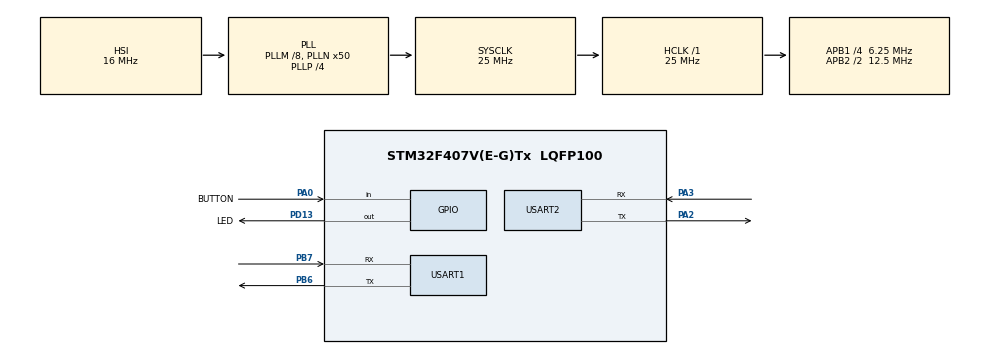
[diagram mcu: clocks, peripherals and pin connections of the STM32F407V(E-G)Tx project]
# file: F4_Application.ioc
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Mcu.Family=STM32F4
Mcu.Name=STM32F407V(E-G)Tx
Mcu.Package=LQFP100
NVIC.PriorityGroup=NVIC_PRIORITYGROUP_0
NVIC.USART1_IRQn=true\:0\:0\:false\:false\:true\:true\:true\:true
NVIC.USART2_IRQn=true\:0\:0\:false\:false\:true\:true\:true\:true
PA0-WKUP.GPIO_Label=BUTTON
PA0-WKUP.Signal=GPIO_Input
PA13.Mode=Serial_Wire
PA13.Signal=SYS_JTMS-SWDIO
PA14.Mode=Serial_Wire
PA14.Signal=SYS_JTCK-SWCLK
PA2.Mode=Asynchronous
PA2.Signal=USART2_TX
PA3.Mode=Asynchronous
PA3.Signal=USART2_RX
PB6.Mode=Asynchronous
PB6.Signal=USART1_TX
PB7.Mode=Asynchronous
PB7.Signal=USART1_RX
PD13.GPIO_Label=LED
PD13.Signal=GPIO_Output
ProjectManager.HeapSize=0x200
ProjectManager.StackSize=0x400
ProjectManager.TargetToolchain=STM32CubeIDE
RCC.48MHZClocksFreq_Value=14285714.285714285
RCC.AHBFreq_Value=25000000
RCC.APB1CLKDivider=RCC_HCLK_DIV4
RCC.APB1Freq_Value=6250000
RCC.APB1TimFreq_Value=12500000
RCC.APB2CLKDivider=RCC_HCLK_DIV2
RCC.APB2Freq_Value=12500000
RCC.APB2TimFreq_Value=25000000
RCC.CortexFreq_Value=25000000
RCC.HCLKFreq_Value=25000000
RCC.HSE_VALUE=8000000
RCC.HSI_VALUE=16000000
RCC.LSE_VALUE=32768
RCC.PLLM=8
RCC.PLLN=50
RCC.PLLP=RCC_PLLP_DIV4
RCC.PLLQ=7
RCC.SYSCLKFreq_VALUE=25000000
RCC.SYSCLKSource=RCC_SYSCLKSOURCE_PLLCLK
RCC.VCOOutputFreq_Value=100000000
USART1.VirtualMode=VM_ASYNC
USART2.VirtualMode=VM_ASYNC
board=STM32F407G-DISC1

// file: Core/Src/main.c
/* USER CODE BEGIN Header */
/**
  ******************************************************************************
  * @file           : main.c
  * @brief          : Main program body
  ******************************************************************************
  * @attention
  *
  * Copyright (c) 2026 STMicroelectronics.
  * All rights reserved.
  *
  * This software is licensed under terms that can be found in the LICENSE file
  * in the root directory of this software component.
  * If no LICENSE file comes with this software, it is provided AS-IS.
  *
  ******************************************************************************
  */
/* USER CODE END Header */
#include "main.h"

/* USER CODE BEGIN Includes */
#include "stdint.h"
#include "stdbool.h"
/* USER CODE END Includes */

/* USER CODE BEGIN PD */
#define MESSAGE_SIZE	24
#define MAGIC_WORD_BOOTLOADER	0xBE57BAC1
/* USER CODE END PD */

UART_HandleTypeDef huart1;
UART_HandleTypeDef huart2;

/* USER CODE BEGIN PV */
uint8_t rx_data;
uint8_t message_u8[24] = "Application Running...\n\r";
volatile bool jumpToBootloaderFlag = false;
/* USER CODE END PV */

void SystemClock_Config(void);
static void MX_GPIO_Init(void);
static void MX_USART1_UART_Init(void);
static void MX_USART2_UART_Init(void);
/* USER CODE BEGIN PFP */
void GoToBootloader_Command_Received(void);

/* USER CODE END PFP */

/* USER CODE BEGIN 0 */
typedef enum
{
	HEADER,
	CMD,
	TERMINATE,
	NEW_LINE
}RX_STATES;

RX_STATES uart_rx_status;

/* USER CODE END 0 */

int main(void)
{

  /* MCU Configuration--------------------------------------------------------*/

  /* Reset of all peripherals, Initializes the Flash interface and the Systick. */
  HAL_Init();

  /* Configure the system clock */
  SystemClock_Config();

  /* Initialize all configured peripherals */
  MX_GPIO_Init();
  MX_USART1_UART_Init();
  MX_USART2_UART_Init();
  /* USER CODE BEGIN 2 */
  HAL_UART_Receive_IT(&huart1, &rx_data, 1);
  /* USER CODE END 2 */

  /* Infinite loop */
  while (1)
  {
    /* USER CODE BEGIN 3 */
	HAL_UART_Transmit(&huart1, message_u8, MESSAGE_SIZE, HAL_MAX_DELAY);
	HAL_GPIO_TogglePin(LED_GPIO_Port, LED_Pin);
	HAL_Delay(500);
  }
  /* USER CODE END 3 */
}

void SystemClock_Config(void)
{
  RCC_OscInitTypeDef RCC_OscInitStruct = {0};
  RCC_ClkInitTypeDef RCC_ClkInitStruct = {0};

  /** Configure the main internal regulator output voltage
  */
  __HAL_RCC_PWR_CLK_ENABLE();
  __HAL_PWR_VOLTAGESCALING_CONFIG(PWR_REGULATOR_VOLTAGE_SCALE1);

  /** Initializes the RCC Oscillators according to the specified parameters
  * in the RCC_OscInitTypeDef structure.
  */
  RCC_OscInitStruct.OscillatorType = RCC_OSCILLATORTYPE_HSI;
  RCC_OscInitStruct.HSIState = RCC_HSI_ON;
  RCC_OscInitStruct.HSICalibrationValue = RCC_HSICALIBRATION_DEFAULT;
  RCC_OscInitStruct.PLL.PLLState = RCC_PLL_ON;
  RCC_OscInitStruct.PLL.PLLSource = RCC_PLLSOURCE_HSI;
  RCC_OscInitStruct.PLL.PLLM = 8;
  RCC_OscInitStruct.PLL.PLLN = 50;
  RCC_OscInitStruct.PLL.PLLP = RCC_PLLP_DIV4;
  RCC_OscInitStruct.PLL.PLLQ = 7;
  if (HAL_RCC_OscConfig(&RCC_OscInitStruct) != HAL_OK)
  {
    Error_Handler();
  }

  /** Initializes the CPU, AHB and APB buses clocks
  */
  RCC_ClkInitStruct.ClockType = RCC_CLOCKTYPE_HCLK|RCC_CLOCKTYPE_SYSCLK
                              |RCC_CLOCKTYPE_PCLK1|RCC_CLOCKTYPE_PCLK2;
  RCC_ClkInitStruct.SYSCLKSource = RCC_SYSCLKSOURCE_PLLCLK;
  RCC_ClkInitStruct.AHBCLKDivider = RCC_SYSCLK_DIV1;
  RCC_ClkInitStruct.APB1CLKDivider = RCC_HCLK_DIV4;
  RCC_ClkInitStruct.APB2CLKDivider = RCC_HCLK_DIV2;

  if (HAL_RCC_ClockConfig(&RCC_ClkInitStruct, FLASH_LATENCY_0) != HAL_OK)
  {
    Error_Handler();
  }
}

static void MX_USART1_UART_Init(void)
{

  huart1.Instance = USART1;
  huart1.Init.BaudRate = 115200;
  huart1.Init.WordLength = UART_WORDLENGTH_8B;
  huart1.Init.StopBits = UART_STOPBITS_1;
  huart1.Init.Parity = UART_PARITY_NONE;
  huart1.Init.Mode = UART_MODE_TX_RX;
  huart1.Init.HwFlowCtl = UART_HWCONTROL_NONE;
  huart1.Init.OverSampling = UART_OVERSAMPLING_16;
  if (HAL_UART_Init(&huart1) != HAL_OK)
  {
    Error_Handler();
  }

}

static void MX_USART2_UART_Init(void)
{

  huart2.Instance = USART2;
  huart2.Init.BaudRate = 115200;
  huart2.Init.WordLength = UART_WORDLENGTH_8B;
  huart2.Init.StopBits = UART_STOPBITS_1;
  huart2.Init.Parity = UART_PARITY_NONE;
  huart2.Init.Mode = UART_MODE_TX_RX;
  huart2.Init.HwFlowCtl = UART_HWCONTROL_NONE;
  huart2.Init.OverSampling = UART_OVERSAMPLING_16;
  if (HAL_UART_Init(&huart2) != HAL_OK)
  {
    Error_Handler();
  }

}

static void MX_GPIO_Init(void)
{
  GPIO_InitTypeDef GPIO_InitStruct = {0};

  /* GPIO Ports Clock Enable */
  __HAL_RCC_GPIOA_CLK_ENABLE();
  __HAL_RCC_GPIOD_CLK_ENABLE();
  __HAL_RCC_GPIOB_CLK_ENABLE();

  /*Configure GPIO pin Output Level */
  HAL_GPIO_WritePin(LED_GPIO_Port, LED_Pin, GPIO_PIN_RESET);

  /*Configure GPIO pin : BUTTON_Pin */
  GPIO_InitStruct.Pin = BUTTON_Pin;
  GPIO_InitStruct.Mode = GPIO_MODE_INPUT;
  GPIO_InitStruct.Pull = GPIO_NOPULL;
  HAL_GPIO_Init(BUTTON_GPIO_Port, &GPIO_InitStruct);

  /*Configure GPIO pin : LED_Pin */
  GPIO_InitStruct.Pin = LED_Pin;
  GPIO_InitStruct.Mode = GPIO_MODE_OUTPUT_PP;
  GPIO_InitStruct.Pull = GPIO_NOPULL;
  GPIO_InitStruct.Speed = GPIO_SPEED_FREQ_LOW;
  HAL_GPIO_Init(LED_GPIO_Port, &GPIO_InitStruct);

}

/* USER CODE BEGIN 4 */
void HAL_UART_RxCpltCallback(UART_HandleTypeDef *huart)
{
	if (huart->Instance == USART1)
	{
		switch (uart_rx_status) {
			case HEADER:
				if(rx_data == 0x7F)
				{
					uart_rx_status = CMD;
				}
				else if (rx_data != 0x7F) uart_rx_status = HEADER;
				break;
			case CMD:
				if(rx_data == 0x79)
				{
					uart_rx_status = TERMINATE;
				}
				else if (rx_data != 0x7F) uart_rx_status = HEADER;
				break;
			case TERMINATE:
				if(rx_data == '\r')
				{
					uart_rx_status = NEW_LINE;
				}
				else if (rx_data != 0x7F) uart_rx_status = HEADER;
				break;
			case NEW_LINE:
				if(rx_data == '\n')
				{
					jumpToBootloaderFlag = true;
					GoToBootloader_Command_Received();
					uart_rx_status = HEADER;
				}
				else if (rx_data != 0x7F) uart_rx_status = HEADER;
				break;
			default:
				jumpToBootloaderFlag = false;
				break;
		}
		HAL_UART_Receive_IT(&huart1, &rx_data, 1);
	}
}

void GoToBootloader_Command_Received(void)
{
    __HAL_RCC_PWR_CLK_ENABLE();

    HAL_PWR_EnableBkUpAccess();

    RTC->BKP1R = MAGIC_WORD_BOOTLOADER;

    NVIC_SystemReset();
}
/* USER CODE END 4 */

void Error_Handler(void)
{
  __disable_irq();
  while (1)
  {
  }
}
